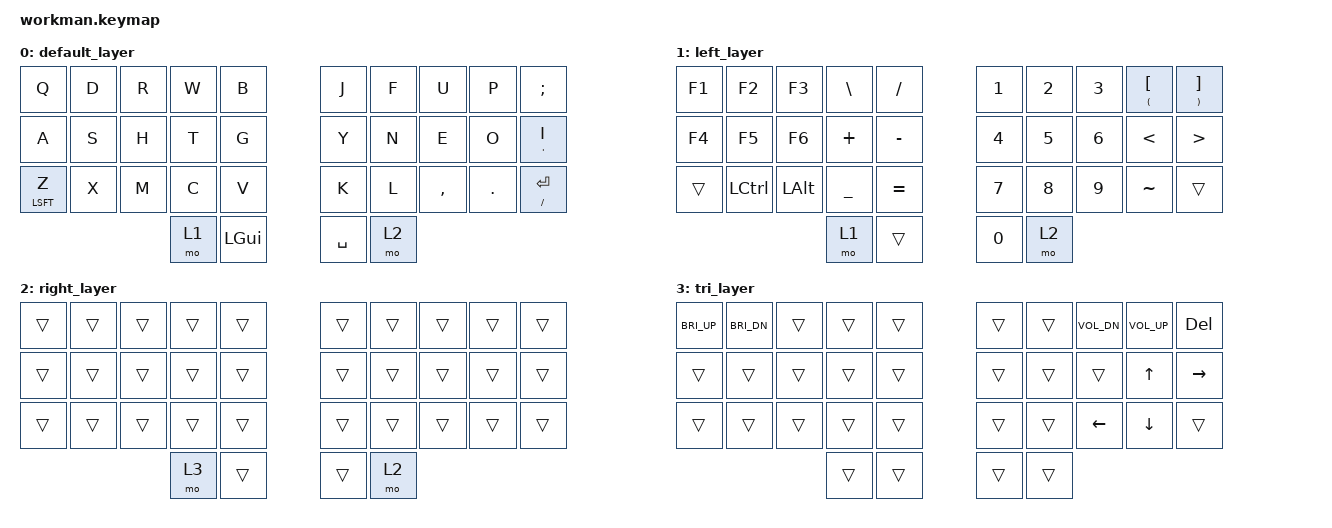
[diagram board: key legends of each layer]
/* 
 * Copyright (c) 2020 The ZMK Contributors
 *
 * SPDX-License-Identifier: MIT
 */

 #include <behaviors.dtsi>
 #include <dt-bindings/zmk/keys.h>
 #include <dt-bindings/zmk/bt.h>
 
 
 &mt {
    flavor = "tap-preferred";
    tapping_term_ms = <200>;
 };
 
 / { 
     combos {
         compatible = "zmk,combos";

        combo_esc {
            timeout-ms = <50>;
            key-positions = <0 1>;
            bindings = <&kp ESC>;
        };

        combo_grave {
            timeout-ms = <50>;
            key-positions = <20 21>;
            bindings = <&kp GRAVE>;
        };

        combo_tab {
            timeout-ms = <50>;
            key-positions = <10 11>;
            bindings = <&kp TAB>;
        };
         
         combo_lctrl {
            timeout-ms = <50>;
            key-positions = <11 12>;
            bindings = <&kp LCTRL>;
        };
        
        combo_lalt {
            timeout-ms = <50>;
            key-positions = <12 13>;
            bindings = <&kp LALT>;
        };
         
        combo_lgui {
            timeout-ms = <50>;
            key-positions = <13 14>;
            bindings = <&kp LGUI>;
        };

         combo_rgui {
            timeout-ms = <50>;
            key-positions = <15 16>;
            bindings = <&kp RGUI>;
        };

         combo_ralt {
            timeout-ms = <50>;
            key-positions = <16 17>;
            bindings = <&kp RALT>;
        };

        combo_rctrl {
            timeout-ms = <50>;
            key-positions = <17 18>;
            bindings = <&kp RCTRL>;
        };

        combo_bksp {
            timeout-ms = <50>;
            key-positions = <18 19>;
            bindings = <&kp BKSP>;
        };  
         
        combo_rshift { 
            timeout-ms = <50>;
            key-positions = <28 29>;
            bindings = <&kp RSFT>;
        };
     };
      
     keymap {
         compatible = "zmk,keymap";
 
         default_layer {
             bindings = <
                 &kp Q      &kp D &kp R &kp W &kp B              &kp J &kp F &kp U &kp P &kp SCLN
                 &kp A      &kp S &kp H &kp T &kp G              &kp Y &kp N &kp E &kp O &mt SQT I
                 &mt LSFT Z &kp X &kp M &kp C &kp V              &kp K &kp L &kp CMMA &kp DOT &mt SLASH RET
                                     &mo 1 &kp LGUI              &kp SPC &mo 2
             >;
         };
 
         left_layer {
             bindings = <
                 &kp F1 &kp F2    &kp F3    &kp BSLH &kp SLASH         &kp N1 &kp N2 &kp N3 &mt LPAR LBKT &mt RPAR RBKT
                 &kp F4 &kp F5    &kp F6    &kp PLUS  &kp MINUS        &kp N4 &kp N5 &kp N6 &kp LT &kp GT
                 &trans &kp LCTRL &kp LALT  &kp UNDER &kp EQUAL        &kp N7 &kp N8 &kp N9 &kp TILDE &trans
                                                   &mo 1 &trans        &kp N0 &mo 2
             >;
         };
 
         right_layer {
           bindings = <
               &trans  &trans &trans &trans &trans        &trans &trans &trans &trans &trans
               &trans  &trans &trans &trans &trans        &trans &trans &trans &trans &trans
               &trans  &trans &trans &trans &trans        &trans &trans &trans &trans &trans
                               &mo 3 &trans               &trans &mo 2
           >;
       };
 
         tri_layer {
             bindings = <
                 &kp C_BRI_UP &kp C_BRI_DN &trans &trans &trans          &trans &trans &kp C_VOL_DN &kp C_VOL_UP &kp DEL
                 &trans &trans &trans &trans &trans                      &trans &trans &trans &kp UP &kp RIGHT 
                 &trans &trans &trans &trans &trans                      &trans &trans &kp LEFT &kp DOWN &trans
                                 &trans &trans                           &trans &trans
             >;
         };
     };
 };
